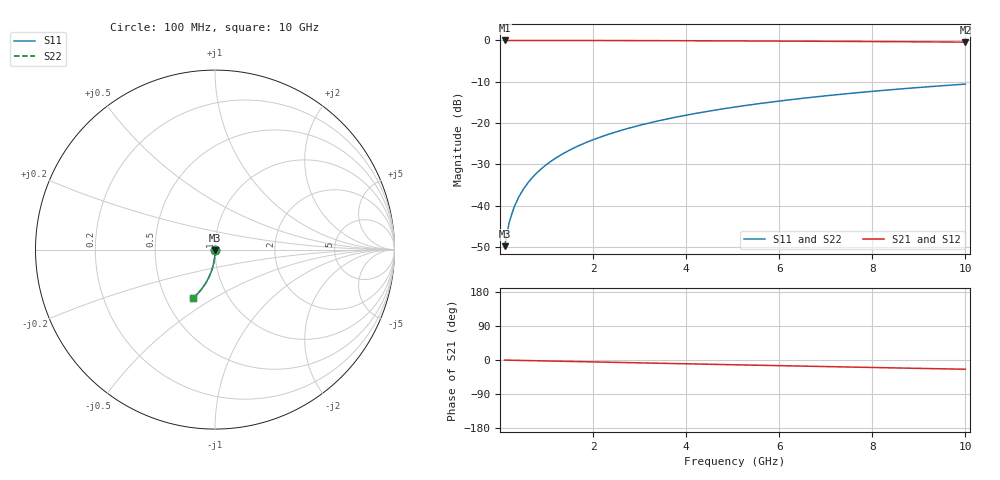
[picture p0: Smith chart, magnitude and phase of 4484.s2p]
# Hz S RI R 50.00
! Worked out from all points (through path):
!   100 points, 100 MHz to 10 GHz, reference 50 ohm
!   highest |S21| = -0.01 dB at 100 MHz (marker M1); lowest = -0.4 dB at 10 GHz (marker M2)
!   group delay of S21, straight-line fit = 6.79 ps
!   lowest |S11| = -49.8 dB at 100 MHz (marker M3), VSWR 1.01, Z = 50.1 - j0.315 ohm
!   |S11| at or under -10 dB: start of sweep to end of sweep
!   |S22| runs from -49.8 to -10.6 dB; largest |S21 - S12| = 0
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1e8  0.000734 -0.00315  0.9992 -0.00438  0.9992 -0.00438  0.000734 -0.00315
2e8  0.000694 -0.00629  0.9992 -0.00876  0.9992 -0.00876  0.000694 -0.00629
3e8  0.000625 -0.00944  0.9991 -0.0131  0.9991 -0.0131  0.000625 -0.00944
4e8  0.000528 -0.0126  0.999 -0.0175  0.999 -0.0175  0.000528 -0.0126
5e8  0.000403 -0.0157  0.9989 -0.0219  0.9989 -0.0219  0.000403 -0.0157
6e8  0.00025 -0.0189  0.9987 -0.0263  0.9987 -0.0263  0.00025 -0.0189
7e8  6.94e-05 -0.022  0.9985 -0.0307  0.9985 -0.0307  6.94e-05 -0.022
8e8  -0.000139 -0.0251  0.9983 -0.035  0.9983 -0.035  -0.000139 -0.0251
9e8  -0.000375 -0.0283  0.998 -0.0394  0.998 -0.0394  -0.000375 -0.0283
1.1e9  -0.000929 -0.0345  0.9974 -0.0481  0.9974 -0.0481  -0.000929 -0.0345
1.4e9  -0.00196 -0.0439  0.9963 -0.0612  0.9963 -0.0612  -0.00196 -0.0439
1.8e9  -0.00373 -0.0563  0.9944 -0.0786  0.9944 -0.0786  -0.00373 -0.0563
2.1e9  -0.00533 -0.0656  0.9927 -0.0916  0.9927 -0.0916  -0.00533 -0.0656
2.5e9  -0.00785 -0.0779  0.9901 -0.1088  0.9901 -0.1088  -0.00785 -0.0779
2.9e9  -0.0108 -0.09  0.987 -0.1259  0.987 -0.1259  -0.0108 -0.09
3.4e9  -0.015 -0.105  0.9825 -0.1471  0.9825 -0.1471  -0.015 -0.105
4.2e9  -0.0231 -0.1285  0.9739 -0.1805  0.9739 -0.1805  -0.0231 -0.1285
5.1e9  -0.0341 -0.154  0.9623 -0.2172  0.9623 -0.2172  -0.0341 -0.154
5.9e9  -0.0454 -0.1757  0.9503 -0.2488  0.9503 -0.2488  -0.0454 -0.1757
6.7e9  -0.058 -0.1965  0.9369 -0.2795  0.9369 -0.2795  -0.058 -0.1965
8.4e9  -0.0888 -0.2369  0.904 -0.3411  0.904 -0.3411  -0.0888 -0.2369
1e10  -0.1218 -0.2698  0.8686 -0.3941  0.8686 -0.3941  -0.1218 -0.2698
